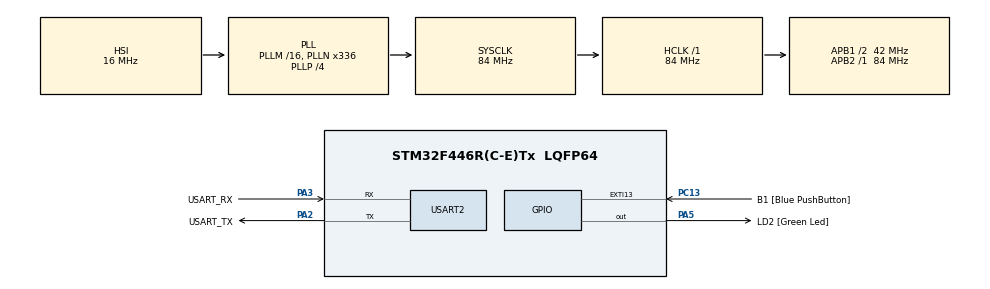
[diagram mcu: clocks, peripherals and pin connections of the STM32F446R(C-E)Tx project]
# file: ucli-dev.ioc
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Mcu.Family=STM32F4
Mcu.Name=STM32F446R(C-E)Tx
Mcu.Package=LQFP64
NVIC.PriorityGroup=NVIC_PRIORITYGROUP_0
NVIC.USART2_IRQn=true\:0\:0\:false\:false\:true\:true\:true\:true
PA13.GPIO_Label=TMS
PA13.Mode=Serial_Wire
PA13.Signal=SYS_JTMS-SWDIO
PA14.GPIO_Label=TCK
PA14.Mode=Serial_Wire
PA14.Signal=SYS_JTCK-SWCLK
PA2.GPIO_Label=USART_TX
PA2.Mode=Asynchronous
PA2.Signal=USART2_TX
PA3.GPIO_Label=USART_RX
PA3.Mode=Asynchronous
PA3.Signal=USART2_RX
PA5.GPIO_Label=LD2 [Green Led]
PA5.Signal=GPIO_Output
PB3.GPIO_Label=SWO
PB3.Signal=SYS_JTDO-SWO
PC13.GPIO_Label=B1 [Blue PushButton]
PC13.GPIO_ModeDefaultEXTI=GPIO_MODE_IT_FALLING
PC13.Signal=GPXTI13
PC14-OSC32_IN.Mode=LSE-External-Oscillator
PC14-OSC32_IN.Signal=RCC_OSC32_IN
PC15-OSC32_OUT.Mode=LSE-External-Oscillator
PC15-OSC32_OUT.Signal=RCC_OSC32_OUT
PH0-OSC_IN.Mode=HSE-External-Oscillator
PH0-OSC_IN.Signal=RCC_OSC_IN
PH1-OSC_OUT.Mode=HSE-External-Oscillator
PH1-OSC_OUT.Signal=RCC_OSC_OUT
ProjectManager.HeapSize=0x200
ProjectManager.StackSize=0x400
ProjectManager.TargetToolchain=Makefile
RCC.48MHZClocksFreq_Value=84000000
RCC.AHBFreq_Value=84000000
RCC.APB1CLKDivider=RCC_HCLK_DIV2
RCC.APB1Freq_Value=42000000
RCC.APB1TimFreq_Value=84000000
RCC.APB2Freq_Value=84000000
RCC.APB2TimFreq_Value=84000000
RCC.CortexFreq_Value=84000000
RCC.FLatency-AdvancedSettings=FLASH_LATENCY_2
RCC.HCLKFreq_Value=84000000
RCC.HSE_VALUE=8000000
RCC.HSI_VALUE=16000000
RCC.PLLN=336
RCC.PLLP=RCC_PLLP_DIV4
RCC.SYSCLKFreq_VALUE=84000000
RCC.SYSCLKSource=RCC_SYSCLKSOURCE_PLLCLK
RCC.USBFreq_Value=168000000
RCC.VCOOutputFreq_Value=336000000
USART2.VirtualMode=VM_ASYNC
board=NUCLEO-F446RE

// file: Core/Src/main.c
/* USER CODE BEGIN Header */
/**
 ******************************************************************************
 * @file           : main.c
 * @brief          : Main program body
 ******************************************************************************
 * @attention
 *
 * Copyright (c) 2024 STMicroelectronics.
 * All rights reserved.
 *
 * This software is licensed under terms that can be found in the LICENSE file
 * in the root directory of this software component.
 * If no LICENSE file comes with this software, it is provided AS-IS.
 *
 ******************************************************************************
 */
/* USER CODE END Header */
#include "main.h"
#include "gpio.h"
#include "usart.h"

/* USER CODE BEGIN Includes */
#include "ucli.h"
#include <stdio.h>
#include <string.h>
/* USER CODE END Includes */

/* USER CODE BEGIN PD */
#define SERIAL_TIMEOUT 100
/* USER CODE END PD */

/* USER CODE BEGIN PV */
uint8_t serial_rx_buffer = 0;
uint32_t primask = 0;
/* USER CODE END PV */

void SystemClock_Config(void);
/* USER CODE BEGIN PFP */
void cs_enter(void) {
    primask = __get_PRIMASK();
    __disable_irq();
}

void cs_exit(void) {
    if (!primask)
        __enable_irq();
}

void serial_rx(void) { HAL_UART_Receive_IT(&huart2, &serial_rx_buffer, 1); }

void serial_tx(char* message, size_t size) {
    while (!(huart2.gState == HAL_UART_STATE_READY))
        ;
    HAL_UART_Transmit(&huart2, (uint8_t*)message, size, SERIAL_TIMEOUT);
}

void HAL_UART_RxCpltCallback(UART_HandleTypeDef* huart) {
    if (ucli_receive_data((char)serial_rx_buffer) != UCLI_RETURN_CODE_OK) {
        return;
    }
}

void print(int argc, char args[][10]) {
    if (argc == 0 || argc > 1) {
        char* error_message = "\r\nprint expects 1 argument\r\n";
        serial_tx(error_message, strlen(error_message));
    } else {
        char* fmt = "\n\r%s\n\r";
        int size = snprintf(NULL, 0, fmt, args[0]);
        char message[size + 1]; // +1 for terminating null byte
        snprintf(message, sizeof message, fmt, args[0]);

        serial_tx(message, size);
    }
}
/* USER CODE END PFP */

int main(void) {

    /* MCU
     * Configuration--------------------------------------------------------*/

    /* Reset of all peripherals, Initializes the Flash interface and the
     * Systick. */
    HAL_Init();

    /* USER CODE BEGIN Init */
    ucli_handler_t ucli_handler = {
        .enable_receive = &serial_rx,
        .send = &serial_tx,
        .cs_enter = &cs_enter,
        .cs_exit = &cs_exit,
        .echo = true,
    };

    if (ucli_init(ucli_handler) != UCLI_RETURN_CODE_OK) {
        return 1;
    }
    ucli_command_t print_command = {.name = "print", .function = &print};
    if (ucli_add_command(print_command) != UCLI_RETURN_CODE_OK) {
        return 1;
    }
    /* USER CODE END Init */

    /* Configure the system clock */
    SystemClock_Config();

    /* Initialize all configured peripherals */
    MX_GPIO_Init();
    MX_USART2_UART_Init();
    /* USER CODE BEGIN 2 */

    serial_rx();

    /* USER CODE END 2 */

    /* Infinite loop */
    /* USER CODE BEGIN WHILE */
    while (1) {
        ucli_routine();
        /* USER CODE END WHILE */

    }
}

void SystemClock_Config(void) {
    RCC_OscInitTypeDef RCC_OscInitStruct = {0};
    RCC_ClkInitTypeDef RCC_ClkInitStruct = {0};

    /** Configure the main internal regulator output voltage
     */
    __HAL_RCC_PWR_CLK_ENABLE();
    __HAL_PWR_VOLTAGESCALING_CONFIG(PWR_REGULATOR_VOLTAGE_SCALE3);

    /** Initializes the RCC Oscillators according to the specified parameters
     * in the RCC_OscInitTypeDef structure.
     */
    RCC_OscInitStruct.OscillatorType = RCC_OSCILLATORTYPE_HSI;
    RCC_OscInitStruct.HSIState = RCC_HSI_ON;
    RCC_OscInitStruct.HSICalibrationValue = RCC_HSICALIBRATION_DEFAULT;
    RCC_OscInitStruct.PLL.PLLState = RCC_PLL_ON;
    RCC_OscInitStruct.PLL.PLLSource = RCC_PLLSOURCE_HSI;
    RCC_OscInitStruct.PLL.PLLM = 16;
    RCC_OscInitStruct.PLL.PLLN = 336;
    RCC_OscInitStruct.PLL.PLLP = RCC_PLLP_DIV4;
    RCC_OscInitStruct.PLL.PLLQ = 2;
    RCC_OscInitStruct.PLL.PLLR = 2;
    if (HAL_RCC_OscConfig(&RCC_OscInitStruct) != HAL_OK) {
        Error_Handler();
    }

    /** Initializes the CPU, AHB and APB buses clocks
     */
    RCC_ClkInitStruct.ClockType = RCC_CLOCKTYPE_HCLK | RCC_CLOCKTYPE_SYSCLK |
                                  RCC_CLOCKTYPE_PCLK1 | RCC_CLOCKTYPE_PCLK2;
    RCC_ClkInitStruct.SYSCLKSource = RCC_SYSCLKSOURCE_PLLCLK;
    RCC_ClkInitStruct.AHBCLKDivider = RCC_SYSCLK_DIV1;
    RCC_ClkInitStruct.APB1CLKDivider = RCC_HCLK_DIV2;
    RCC_ClkInitStruct.APB2CLKDivider = RCC_HCLK_DIV1;

    if (HAL_RCC_ClockConfig(&RCC_ClkInitStruct, FLASH_LATENCY_2) != HAL_OK) {
        Error_Handler();
    }
}

void Error_Handler(void) {
    /* USER CODE BEGIN Error_Handler_Debug */
    /* User can add his own implementation to report the HAL error return state
     */
    __disable_irq();
    while (1) {
    }
    /* USER CODE END Error_Handler_Debug */
}

#ifdef USE_FULL_ASSERT
/**
 * @brief  Reports the name of the source file and the source line number
 *         where the assert_param error has occurred.
 * @param  file: pointer to the source file name
 * @param  line: assert_param error line source number
 * @retval None
 */
void assert_failed(uint8_t* file, uint32_t line) {
    /* USER CODE BEGIN 6 */
    /* User can add his own implementation to report the file name and line
       number, ex: printf("Wrong parameters value: file %s on line %d\r\n",
       file, line) */
    /* USER CODE END 6 */
}
#endif /* USE_FULL_ASSERT */
